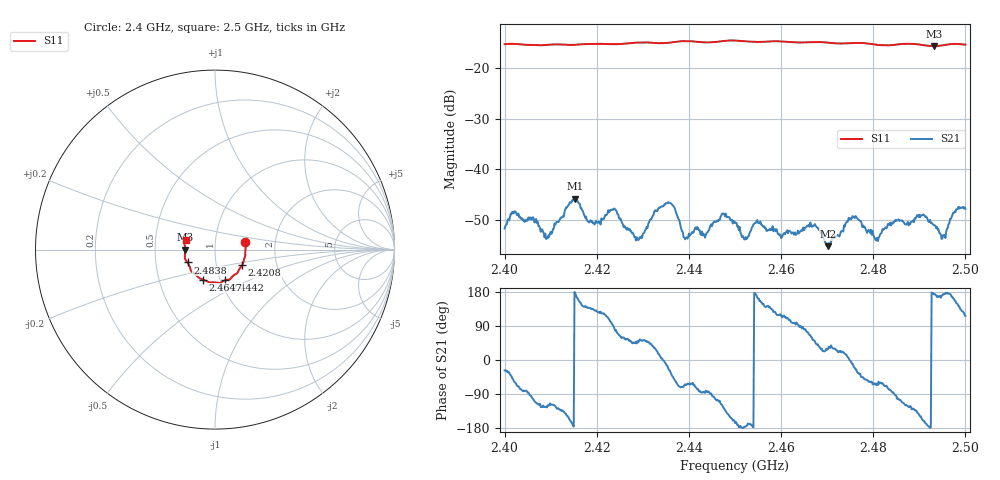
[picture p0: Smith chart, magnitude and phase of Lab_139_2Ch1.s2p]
# Hz S RI R 50
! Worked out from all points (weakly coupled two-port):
!   601 points, 2.4 GHz to 2.5 GHz, reference 50 ohm
!   highest |S21| = -45.82 dB at 2.4153 GHz (marker M1); lowest = -55.3 dB at 2.4702 GHz (marker M2)
!   lowest |S11| = -15.6 dB at 2.4932 GHz (marker M3), VSWR 1.40, Z = 35.8 - j0.0845 ohm
!   |S11| at or under -10 dB: start of sweep to end of sweep
!   S12 and S22 are empty: the file has one direction only
!   S11 on the Smith chart (normalised r, x): 2.4 GHz: 1.40, +0.12; 2.4208 GHz: 1.33, -0.24; 2.4442 GHz: 1.05, -0.37; 2.4647 GHz: 0.83, -0.29; 2.4838 GHz: 0.73, -0.11; 2.5 GHz: 0.72, +0.08
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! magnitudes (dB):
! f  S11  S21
! 2.4 GHz  -15.2  -51.8
! 2.4022 GHz  -15.2  -48.3
! 2.4092 GHz  -15.4  -53.6
! 2.4153 GHz  -15.3  -45.8
! 2.4167 GHz  -15.3  -47.7
! 2.4208 GHz  -15.2  -51.0
! 2.4238 GHz  -15.2  -47.8
! 2.429 GHz  -14.9  -54.1
! 2.4333 GHz  -15.0  -47.8
! 2.4363 GHz  -14.9  -47.0
! 2.4393 GHz  -14.6  -53.6
! 2.4442 GHz  -14.9  -52.3
! 2.45 GHz  -14.5  -50.7
! 2.4647 GHz  -14.9  -52.2
! 2.4667 GHz  -14.8  -51.4
! 2.4702 GHz  -14.9  -55.3
! 2.4752 GHz  -15.0  -50.0
! 2.4833 GHz  -15.5  -50.9
! 2.4838 GHz  -15.4  -51.2
! 2.4932 GHz  -15.6  -51.1
! 2.4953 GHz  -15.4  -53.1
! 2.5 GHz  -15.3  -47.9
